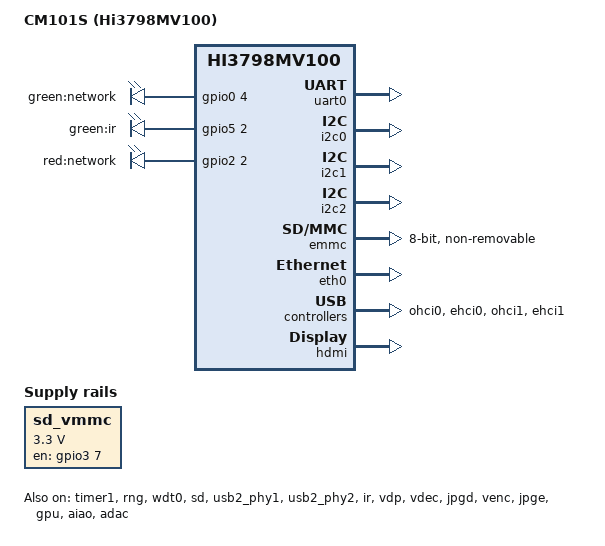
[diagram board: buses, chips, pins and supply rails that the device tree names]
// SPDX-License-Identifier: GPL-2.0-or-later OR MIT
/*
 * Copyright (c) 2023 David Yang
 */

/dts-v1/;
#include <dt-bindings/gpio/gpio.h>
#include "hi3798mv100.dtsi"

/ {
	/*
	 * The real board is a CM101S. It carries the same Hi3798MV100 SoC as
	 * the EC6108V9C this file/compatible string is named after, but the
	 * front-panel wiring is different -- which is why the historical LED
	 * labels do not match the lamps (see the leds node below). The file
	 * name and compatible are kept because the upstream tree only ships
	 * this board dts and the build scripts key off its name.
	 */
	model = "CM101S (Hi3798MV100)";

	compatible = "hisilicon,hi3798mv100-ec6108v9c",
		     "hisilicon,hi3798mv100";

	aliases {
		serial0 = &uart0;
	};

	chosen {
		stdout-path = "serial0:115200n8";
	};

	i2c_hdmi: i2c-hdmi {
		compatible = "i2c-gpio";
		sda-gpios = <&gpio4 4 (GPIO_ACTIVE_HIGH | GPIO_OPEN_DRAIN)>;
		scl-gpios = <&gpio4 5 (GPIO_ACTIVE_HIGH | GPIO_OPEN_DRAIN)>;
		i2c-gpio,sda-open-drain;
		i2c-gpio,scl-open-drain;
		i2c-gpio,delay-us = <2>;	/* ~100 kHz */
		status = "disabled";
	};

	sd_vmmc: regulator-sd-vmmc {
		compatible = "regulator-fixed";
		regulator-name = "sd-vmmc";
		regulator-min-microvolt = <3300000>;
		regulator-max-microvolt = <3300000>;
		gpio = <&gpio3 7 GPIO_ACTIVE_HIGH>;
		enable-active-high;
	};

	reserved-memory {
		#address-cells = <1>;
		#size-cells = <1>;
		ranges;

		/*
		 * Media pool: the display path allocates its frame buffers
		 * here, and so does the decoder -- both nodes point their
		 * memory-region at this phandle. A frame buffer has to be
		 * physically contiguous, because the channel takes one base
		 * address (VO_G0_ADDR) and this chip has no MMU on the display
		 * side; the decoder's dma-contig queues are single contiguous
		 * chunks for the same reason, which is what lets a decoded
		 * frame be scanned out without a copy. Reusable: the pages stay
		 * in the movable pool until a media allocation claims them.
		 *
		 * Sizing. An allocation wants `count' contiguous pages whose
		 * start is aligned to min(get_order(size),
		 * CONFIG_CMA_ALIGNMENT) pages -- 1 MiB here -- so a buffer
		 * costs its own size plus at most that much, and mixing sizes
		 * leaves 362-566 pages unusable.
		 *
		 * Two independent tiers. The decoder side follows the video
		 * size, while the console framebuffer and the user interface
		 * follow the mode being scanned out: that is what fixes the
		 * XRGB frame size, so an OSD over a 4K output costs a 4K frame
		 * whatever the video is. The display side is then 3 x O (fbdev
		 * console plus a double buffered UI). One decoder session costs
		 * 16 capture planes -- the picture message names references
		 * through a 16-entry table, and that is what clamps the capture
		 * queue -- plus 20 PMV slots at the same picture size, 4
		 * bitstream planes, one RBSP buffer and the device's message
		 * pool:
		 *
		 * O = XRGB8888 frame at the output mode, C = the capture plane
		 * at the video size (the wider of the HEVC and H.264 grids), P
		 * = 20 PMV slots, all in pages. A session wants 3O + 16C + P +
		 * 6376, where 6376 is 4 x 768 bitstream plus 768 RBSP plus 1536
		 * message pool plus 1000 fragments:
		 *
		 *  video     C      P   16C + P        3 x O
		 *   720p    363   1280     7088    720p:  2700
		 *  1080p    923   2560    17328   1080p:  6075
		 *    2K    1386   4500    26676     2K:  10800
		 *    4K    3069  10140    59244     4K:  24300
		 *
		 * The mixed pairs are not symmetric any more: the display term
		 * follows the output mode while the decoder term follows the
		 * video. Inside the 160 MiB below sit 4K out with 720p video
		 * (37764 pages) and 1080p out with 2K video (39127); 4K out
		 * with 1080p video wants 48004 pages = 187 MiB at the full
		 * depth, and 40620 pages = 158 MiB once the client queues only
		 * 8 capture planes. 4K both ways wants 89920 pages = 351 MiB,
		 * out of budget on a 1 GiB board. Take one O away if the
		 * console keeps a lower mode than the UI, two if there is no
		 * /dev/fb0 at all.
		 *
		 * Not priced in: a client may queue the bitstream queue up to
		 * VB2_MAX_FRAME planes, and a second session repeats its own
		 * capture, PMV, RBSP and bitstream terms.
		 */
		media_cma: media-cma {
			compatible = "shared-dma-pool";
			reusable;
			size = <0x0a000000>;
			alignment = <0x00400000>;
		};
	};

	leds {
		compatible = "gpio-leds";

		/*
		 * CM101S front panel, verified on 2026-11-08 by holding one
		 * line high at a time and then by unplugging eth0: the carrier
		 * watcher pulled GPIO5_2 low and it was the POWER lamp that
		 * turned red. All three historical sysfs labels are wrong on
		 * this board; they are kept so existing userspace paths work:
		 *
		 *   GPIO0_4  -> NETWORK lamp  (this "green:network" node)
		 *   GPIO5_2  -> POWER   lamp  (this "green:ir" node, NOT IR)
		 *   GPIO2_2  -> no visible lamp, kept low
		 *
		 * Both real lamps are bi-colour: high = green, low = red, so
		 * brightness=0 means red rather than off. The vendor firmware
		 * (_deploy/leds-green.sh) drives GPIO0_4 + GPIO5_2 high with
		 * GPIO2_2 low for its "running green" state. There is no
		 * SoC-controllable IR indicator on this board.
		 */
		network {
			label = "green:network";	/* NETWORK lamp */
			gpios = <&gpio0 4 GPIO_ACTIVE_HIGH>;
			/*
			 * Link-up green / link-down red, entirely in-kernel.
			 * CONFIG_LEDS_TRIGGER_NETDEV=y and the DT binding in
			 * ledtrig-netdev.c (linux,netdev-device) supply the
			 * device name and link mode; no userspace watcher.
			 */
			linux,default-trigger = "netdev";
			linux,netdev-device = "eth0";
			default-state = "on";
		};

		power {
			label = "green:ir";		/* POWER lamp */
			gpios = <&gpio5 2 GPIO_ACTIVE_HIGH>;
			linux,default-trigger = "default-on";
			default-state = "on";
			panic-indicator;
		};

		unused {
			label = "red:network";		/* no visible lamp found */
			gpios = <&gpio2 2 GPIO_ACTIVE_HIGH>;
			default-state = "off";
		};
	};
};

&emmc_data {
	pinctrl-single,bias-pulldown = <
		PINCTRL_PULLDOWN(0, 1, 0, 1)
	>;
	pinctrl-single,slew-rate = <
		PINCTRL_SLEW_RATE(1, 1)
	>;
	pinctrl-single,drive-strength = <
		PINCTRL_DRV_STRENGTH(6, 7)
	>;
};

&emmc_detect {
	pinctrl-single,bias-pulldown = <
		PINCTRL_PULLDOWN(0, 1, 0, 1)
	>;
	pinctrl-single,slew-rate = <
		PINCTRL_SLEW_RATE(1, 1)
	>;
	pinctrl-single,drive-strength = <
		PINCTRL_DRV_STRENGTH(3, 3)
	>;
};

&emmc_ccmd {
	pinctrl-single,bias-pullup = <
		PINCTRL_PULLUP(0, 1, 0, 1)
	>;
	pinctrl-single,slew-rate = <
		PINCTRL_SLEW_RATE(1, 1)
	>;
	pinctrl-single,drive-strength = <
		PINCTRL_DRV_STRENGTH(6, 7)
	>;
};

&emmc_cclk_out {
	pinctrl-single,bias-pulldown = <
		PINCTRL_PULLDOWN(0, 1, 0, 1)
	>;
	pinctrl-single,slew-rate = <
		PINCTRL_SLEW_RATE(1, 1)
	>;
	pinctrl-single,drive-strength = <
		PINCTRL_DRV_STRENGTH(5, 7)
	>;
};

&emmc_rst {
	pinctrl-single,bias-pullup = <
		PINCTRL_PULLUP(0, 1, 0, 1)
	>;
	pinctrl-single,slew-rate = <
		PINCTRL_SLEW_RATE(1, 1)
	>;
	pinctrl-single,drive-strength = <
		PINCTRL_DRV_STRENGTH(3, 3)
	>;
};

&timer1 {
	status = "okay";
};

&uart0 {
	status = "okay";
};

&rng {
	status = "okay";
};

&dmac {
	status = "okay";
};

/* The vendor tree ships all three I2C masters enabled. */
&i2c0 {
	status = "okay";
};

&i2c1 {
	status = "okay";
};

&i2c2 {
	status = "okay";
};

&wdt0 {
	status = "okay";
	timeout-sec = <60>;
};

&gpio0 {
	status = "okay";
};

&gpio3 {
	status = "okay";
};

&gpio2 {
	status = "okay";
};

&gpio4 {
	status = "okay";
};

&gpio5 {
	status = "okay";
};

&gpio6 {
	status = "okay";
};

&emmc {
	bus-width = <8>;
	fifo-depth = <256>;
	clock-frequency = <100000000>;
	cap-mmc-highspeed;
	non-removable;
	pinctrl-0 = <&emmc_data &emmc_detect &emmc_ccmd
		     &emmc_cclk_out &emmc_rst>;
	pinctrl-names = "default";
	status = "okay";
};

&sd {
	bus-width = <4>;
	cap-sd-highspeed;
	pinctrl-0 = <&sd_data &sd_detect>;
	pinctrl-names = "default";
	vmmc-supply = <&sd_vmmc>;
	status = "okay";
};

&eth0 {
	status = "okay";
};

&usb2_phy1 {
	status = "okay";
};

&usb2_phy2 {
	status = "okay";
};

&ohci0 {
	status = "okay";
};

&ehci0 {
	status = "okay";
};

&ohci1 {
	status = "okay";
};

&ehci1 {
	status = "okay";
};

&ir {
	status = "okay";
};

/*
 * No ddc-i2c-bus: the EDID is read through the transmitter's own DDC master, so
 * the HDMI block keeps the DDC pins to itself. An external bit-banging adapter
 * on those pins shares the bus with that master, and its reads fail while the
 * transmitter owns the pins.
 */
&hdmi {
	status = "okay";
};

&vdp {
	memory-region = <&media_cma>;
	status = "okay";
};

&vdec {
	memory-region = <&media_cma>;
	status = "okay";
};
&vdec {
	memory-region = <&media_cma>;
	status = "okay";
};

&jpgd {
	memory-region = <&media_cma>;
	status = "okay";
};

&venc {
	memory-region = <&media_cma>;
	status = "okay";
};

&jpge {
	memory-region = <&media_cma>;
	status = "okay";
};

&gpu {
	status = "okay";
};

&aiao {
	status = "okay";
};

&adac {
	status = "okay";
	/*
	 * CRG69[4] adac_srst_req sits in the CRG syscon, outside the codec's
	 * 8-byte register window. histb-adac.c pulses it through
	 * syscon_regmap_lookup_by_phandle() at probe time.
	 */
	hisilicon,crg = <&crg>;
};

/ {
	sound {
		compatible = "hisilicon,hi3798mv100-aiao-card";
		model = "hi3798mv100-hdmi";

		playback {
			cpu {
				sound-dai = <&aiao 0>;
			};
			codec {
				sound-dai = <&hdmi>;
			};
		};

		capture {
			cpu {
				sound-dai = <&aiao 1>;
			};
		};

		/*
		 * The 3.5 mm AV jack. The DAC is a clock consumer on the lane of
		 * transmit port 2, so it is DAI 2 of the AIAO block and there is
		 * nothing to configure about the routing.
		 */
		dac-playback {
			cpu {
				sound-dai = <&aiao 2>;
			};
			codec {
				sound-dai = <&adac>;
			};
		};
	};
};
